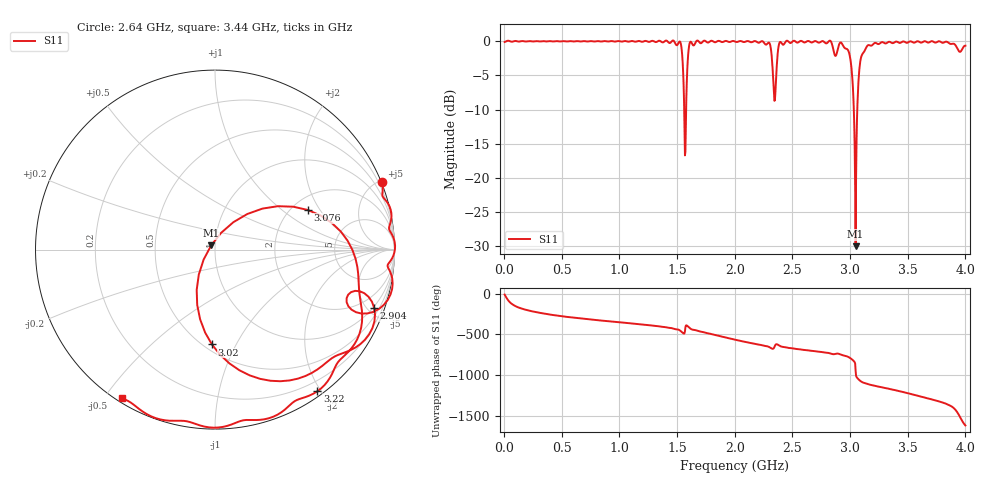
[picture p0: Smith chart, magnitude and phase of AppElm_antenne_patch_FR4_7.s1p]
! TOUCHSTONE file generated by CST MICROWAVE STUDIO
! Date and time: Tue Jun  7 19:07:19 2022
! Project name: AppElm_antenne_patch_FR4.cst
! Parameters = {L=45; W=61.425; e=0.035; h=1.6; lambda=0.190476; ls=120; w0=1.6; w1=0.533333; ws=120; y0=20; y1=23.8095}
! Header version: 2018
! Port assignment regex: !\s*Touchstone port\s*([0-9]+)\s*=\s*(CST MWS port|CST DS port)\s*([0-9]+|Zmin|Zmax)\s*\(\"(.*)\"\)(\s*mode\s*([0-9]+))?.*
! Touchstone port assignment:
! Touchstone port 1 = CST MWS port 1 ("")
# GHz S MA R 50
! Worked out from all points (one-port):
!   1000 points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, 4 MHz to 4 GHz, reference 50 ohm
!   lowest |S11| = -30.0 dB at 3.048 GHz (marker M1), VSWR 1.07, Z = 47.8 + j2.21 ohm
!   |S11| at or under -10 dB: 1.561 GHz to 1.578 GHz (16.64 MHz wide, 1.06 % of centre); 3.032 GHz to 3.062 GHz (30.13 MHz wide, 0.989 % of centre)
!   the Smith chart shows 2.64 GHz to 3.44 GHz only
!   S11 on the Smith chart (normalised r, x): 2.64 GHz: -0.06, +5.14; 2.904 GHz: 0.92, -5.50; 3.02 GHz: 0.55, -0.80; 3.076 GHz: 2.42, +1.56; 3.22 GHz: 0.06, -1.95; 3.44 GHz: 0.01, -0.55
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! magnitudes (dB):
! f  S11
! 4 MHz  -0.1
! 504 MHz  0.0
! 1.004 GHz  0.0
! 1.504 GHz  -0.5
! 1.532 GHz  -0.3
! 1.556 GHz  -6.2
! 1.568 GHz  -16.7
! 1.584 GHz  -6.0
! 1.604 GHz  -0.7
! 1.62 GHz  -0.1
! 2.004 GHz  -0.1
! 2.292 GHz  -0.2
! 2.344 GHz  -8.7
! 2.392 GHz  -0.1
! 2.504 GHz  0.0
! 2.64 GHz  0.0
! 2.904 GHz  -0.5
! 3.004 GHz  -2.8
! 3.02 GHz  -5.5
! 3.032 GHz  -9.8
! 3.048 GHz  -30.0
! 3.064 GHz  -9.1
! 3.076 GHz  -5.0
! 3.108 GHz  -1.8
! 3.22 GHz  -0.2
! 3.44 GHz  -0.2
! 3.504 GHz  -0.2
! 4 GHz  -0.6
